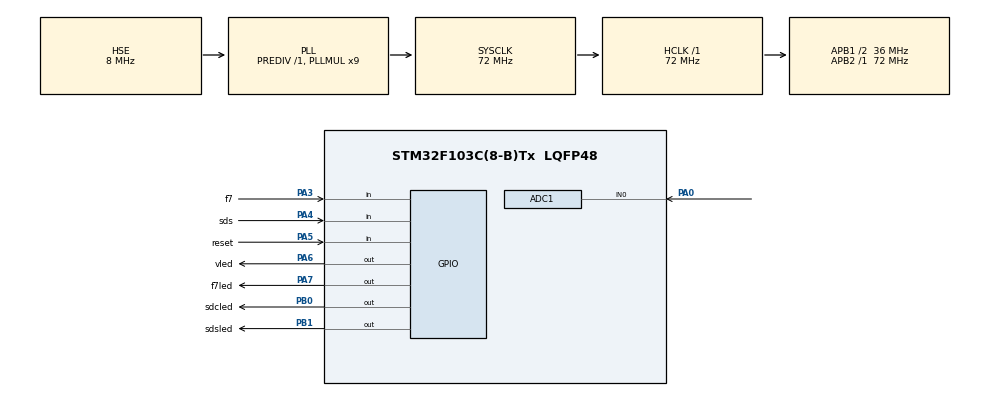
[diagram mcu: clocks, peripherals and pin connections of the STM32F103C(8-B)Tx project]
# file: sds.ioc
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ADC1.Channel-1\#ChannelRegularConversion=ADC_CHANNEL_0
ADC1.NbrOfConversionFlag=1
ADC1.Rank-1\#ChannelRegularConversion=1
ADC1.SamplingTime-1\#ChannelRegularConversion=ADC_SAMPLETIME_1CYCLE_5
ADC1.master=1
Mcu.Family=STM32F1
Mcu.Name=STM32F103C(8-B)Tx
Mcu.Package=LQFP48
NVIC.PriorityGroup=NVIC_PRIORITYGROUP_4
PA0-WKUP.Signal=ADCx_IN0
PA3.GPIO_Label=f7
PA3.Signal=GPIO_Input
PA4.GPIO_Label=sds
PA4.Signal=GPIO_Input
PA5.GPIO_Label=reset
PA5.GPIO_PuPd=GPIO_PULLUP
PA5.Signal=GPIO_Input
PA6.GPIO_Label=vled
PA6.Signal=GPIO_Output
PA7.GPIO_Label=f7led
PA7.Signal=GPIO_Output
PB0.GPIO_Label=sdcled
PB0.Signal=GPIO_Output
PB1.GPIO_Label=sdsled
PB1.Signal=GPIO_Output
PD0-OSC_IN.Mode=HSE-External-Oscillator
PD0-OSC_IN.Signal=RCC_OSC_IN
PD1-OSC_OUT.Mode=HSE-External-Oscillator
PD1-OSC_OUT.Signal=RCC_OSC_OUT
ProjectManager.HeapSize=0x200
ProjectManager.StackSize=0x400
ProjectManager.TargetToolchain=STM32CubeIDE
RCC.ADCPresc=RCC_ADCPCLK2_DIV6
RCC.AHBFreq_Value=72000000
RCC.APB1CLKDivider=RCC_HCLK_DIV2
RCC.APB1Freq_Value=36000000
RCC.APB1TimFreq_Value=72000000
RCC.APB2Freq_Value=72000000
RCC.APB2TimFreq_Value=72000000
RCC.HCLKFreq_Value=72000000
RCC.PLLMUL=RCC_PLL_MUL9
RCC.PLLSourceVirtual=RCC_PLLSOURCE_HSE
RCC.SYSCLKFreq_VALUE=72000000
RCC.SYSCLKSource=RCC_SYSCLKSOURCE_PLLCLK
RCC.USBFreq_Value=72000000
SH.ADCx_IN0.0=ADC1_IN0,IN0
board=custom

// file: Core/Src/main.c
/* USER CODE BEGIN Header */
/**
  ******************************************************************************
  * @file           : main.c
  * @brief          : Main program body
  ******************************************************************************
  * @attention
  *
  * Copyright (c) 2022 STMicroelectronics.
  * All rights reserved.
  *
  * This software is licensed under terms that can be found in the LICENSE file
  * in the root directory of this software component.
  * If no LICENSE file comes with this software, it is provided AS-IS.
  *
  ******************************************************************************
  */
/* USER CODE END Header */
#include "main.h"

ADC_HandleTypeDef hadc1;

/* USER CODE BEGIN PV */
int sds_status=0;
int f7_status=0;
float voltage_value=0;
int adc_value=0;
float adc_voltage=0;
int reset_status=0;
int flag=0;

/* USER CODE END PV */

void SystemClock_Config(void);
static void MX_GPIO_Init(void);
static void MX_ADC1_Init(void);

int main(void)
{

  /* MCU Configuration--------------------------------------------------------*/

  /* Reset of all peripherals, Initializes the Flash interface and the Systick. */
  HAL_Init();

  /* Configure the system clock */
  SystemClock_Config();

  /* Initialize all configured peripherals */
  MX_GPIO_Init();
  MX_ADC1_Init();
  /* USER CODE BEGIN 2 */
  HAL_ADCEx_Calibration_Start(&hadc1);
  /* USER CODE END 2 */

  /* Infinite loop */
  /* USER CODE BEGIN WHILE */
  while (1)
  {
	 f7_status=HAL_GPIO_ReadPin (GPIOA, f7_Pin);
	 sds_status=HAL_GPIO_ReadPin(GPIOA, sds_Pin);
	 reset_status=HAL_GPIO_ReadPin(GPIOA, reset_Pin);
	 HAL_ADC_Start(&hadc1);
	 HAL_ADC_PollForConversion(&hadc1, 0);
	 adc_value = HAL_ADC_GetValue(&hadc1);// voltage in 4096
	 adc_voltage=3.3*(adc_value/4095); // voltage in 0-3.3v
	 voltage_value=adc_voltage*((10000+330)/330);//battery voltage
	 if(reset_status==1){
		flag=0;
	 }
	 if(((voltage_value<=83)&(voltage_value>=65))&(f7_status==1)&(sds_status==1)&(flag=0)){
		 HAL_GPIO_WritePin(GPIOA, vled_Pin, GPIO_PIN_RESET); //pa6 vled
		 HAL_GPIO_WritePin(GPIOA, f7led_Pin, GPIO_PIN_RESET); //pa7 f7led
		 HAL_GPIO_WritePin(GPIOA, sdcled_Pin, GPIO_PIN_RESET); //pa8
		 HAL_GPIO_WritePin(GPIOA, sdsled_Pin, GPIO_PIN_RESET); //pa9
		 //brake release

	 }
	 else{
		 flag=1;
		 HAL_GPIO_WritePin(GPIOA, sdcled_Pin, GPIO_PIN_RESET); //pa8
		 //brake actuate

		 if(!((voltage_value<=83)&(voltage_value>=65))){
			 HAL_GPIO_WritePin(GPIOA, vled_Pin, GPIO_PIN_SET); //pa6 vled
		 }
		 else{
			 HAL_GPIO_WritePin(GPIOA, vled_Pin, GPIO_PIN_RESET);
		 }
		 if(f7_status==0){
			 HAL_GPIO_WritePin(GPIOA, f7led_Pin, GPIO_PIN_SET); //pa7 f7led
		 }
		 else{
			 HAL_GPIO_WritePin(GPIOA, f7led_Pin, GPIO_PIN_RESET); //pa7 f7led
		 }
		 if(sds_status==0){// check once
			 HAL_GPIO_WritePin(GPIOA, sdsled_Pin, GPIO_PIN_SET); //pa9
		 }
		 else{
			 HAL_GPIO_WritePin(GPIOA, sdsled_Pin, GPIO_PIN_RESET); //pa9
		 }

	 }
    /* USER CODE END WHILE */

  }
}

void SystemClock_Config(void)
{
  RCC_OscInitTypeDef RCC_OscInitStruct = {0};
  RCC_ClkInitTypeDef RCC_ClkInitStruct = {0};
  RCC_PeriphCLKInitTypeDef PeriphClkInit = {0};

  /** Initializes the RCC Oscillators according to the specified parameters
  * in the RCC_OscInitTypeDef structure.
  */
  RCC_OscInitStruct.OscillatorType = RCC_OSCILLATORTYPE_HSE;
  RCC_OscInitStruct.HSEState = RCC_HSE_ON;
  RCC_OscInitStruct.HSEPredivValue = RCC_HSE_PREDIV_DIV1;
  RCC_OscInitStruct.HSIState = RCC_HSI_ON;
  RCC_OscInitStruct.PLL.PLLState = RCC_PLL_ON;
  RCC_OscInitStruct.PLL.PLLSource = RCC_PLLSOURCE_HSE;
  RCC_OscInitStruct.PLL.PLLMUL = RCC_PLL_MUL9;
  if (HAL_RCC_OscConfig(&RCC_OscInitStruct) != HAL_OK)
  {
    Error_Handler();
  }

  /** Initializes the CPU, AHB and APB buses clocks
  */
  RCC_ClkInitStruct.ClockType = RCC_CLOCKTYPE_HCLK|RCC_CLOCKTYPE_SYSCLK
                              |RCC_CLOCKTYPE_PCLK1|RCC_CLOCKTYPE_PCLK2;
  RCC_ClkInitStruct.SYSCLKSource = RCC_SYSCLKSOURCE_PLLCLK;
  RCC_ClkInitStruct.AHBCLKDivider = RCC_SYSCLK_DIV1;
  RCC_ClkInitStruct.APB1CLKDivider = RCC_HCLK_DIV2;
  RCC_ClkInitStruct.APB2CLKDivider = RCC_HCLK_DIV1;

  if (HAL_RCC_ClockConfig(&RCC_ClkInitStruct, FLASH_LATENCY_2) != HAL_OK)
  {
    Error_Handler();
  }
  PeriphClkInit.PeriphClockSelection = RCC_PERIPHCLK_ADC;
  PeriphClkInit.AdcClockSelection = RCC_ADCPCLK2_DIV6;
  if (HAL_RCCEx_PeriphCLKConfig(&PeriphClkInit) != HAL_OK)
  {
    Error_Handler();
  }
}

static void MX_ADC1_Init(void)
{

  ADC_ChannelConfTypeDef sConfig = {0};

  /** Common config
  */
  hadc1.Instance = ADC1;
  hadc1.Init.ScanConvMode = ADC_SCAN_DISABLE;
  hadc1.Init.ContinuousConvMode = DISABLE;
  hadc1.Init.DiscontinuousConvMode = DISABLE;
  hadc1.Init.ExternalTrigConv = ADC_SOFTWARE_START;
  hadc1.Init.DataAlign = ADC_DATAALIGN_RIGHT;
  hadc1.Init.NbrOfConversion = 1;
  if (HAL_ADC_Init(&hadc1) != HAL_OK)
  {
    Error_Handler();
  }

  /** Configure Regular Channel
  */
  sConfig.Channel = ADC_CHANNEL_0;
  sConfig.Rank = ADC_REGULAR_RANK_1;
  sConfig.SamplingTime = ADC_SAMPLETIME_1CYCLE_5;
  if (HAL_ADC_ConfigChannel(&hadc1, &sConfig) != HAL_OK)
  {
    Error_Handler();
  }

}

static void MX_GPIO_Init(void)
{
  GPIO_InitTypeDef GPIO_InitStruct = {0};

  /* GPIO Ports Clock Enable */
  __HAL_RCC_GPIOD_CLK_ENABLE();
  __HAL_RCC_GPIOA_CLK_ENABLE();
  __HAL_RCC_GPIOB_CLK_ENABLE();

  /*Configure GPIO pin Output Level */
  HAL_GPIO_WritePin(GPIOA, vled_Pin|f7led_Pin, GPIO_PIN_RESET);

  /*Configure GPIO pin Output Level */
  HAL_GPIO_WritePin(GPIOB, sdcled_Pin|sdsled_Pin, GPIO_PIN_RESET);

  /*Configure GPIO pins : f7_Pin sds_Pin */
  GPIO_InitStruct.Pin = f7_Pin|sds_Pin;
  GPIO_InitStruct.Mode = GPIO_MODE_INPUT;
  GPIO_InitStruct.Pull = GPIO_NOPULL;
  HAL_GPIO_Init(GPIOA, &GPIO_InitStruct);

  /*Configure GPIO pin : reset_Pin */
  GPIO_InitStruct.Pin = reset_Pin;
  GPIO_InitStruct.Mode = GPIO_MODE_INPUT;
  GPIO_InitStruct.Pull = GPIO_PULLUP;
  HAL_GPIO_Init(reset_GPIO_Port, &GPIO_InitStruct);

  /*Configure GPIO pins : vled_Pin f7led_Pin */
  GPIO_InitStruct.Pin = vled_Pin|f7led_Pin;
  GPIO_InitStruct.Mode = GPIO_MODE_OUTPUT_PP;
  GPIO_InitStruct.Pull = GPIO_NOPULL;
  GPIO_InitStruct.Speed = GPIO_SPEED_FREQ_LOW;
  HAL_GPIO_Init(GPIOA, &GPIO_InitStruct);

  /*Configure GPIO pins : sdcled_Pin sdsled_Pin */
  GPIO_InitStruct.Pin = sdcled_Pin|sdsled_Pin;
  GPIO_InitStruct.Mode = GPIO_MODE_OUTPUT_PP;
  GPIO_InitStruct.Pull = GPIO_NOPULL;
  GPIO_InitStruct.Speed = GPIO_SPEED_FREQ_LOW;
  HAL_GPIO_Init(GPIOB, &GPIO_InitStruct);

}

void Error_Handler(void)
{
  __disable_irq();
  while (1)
  {
  }
}
